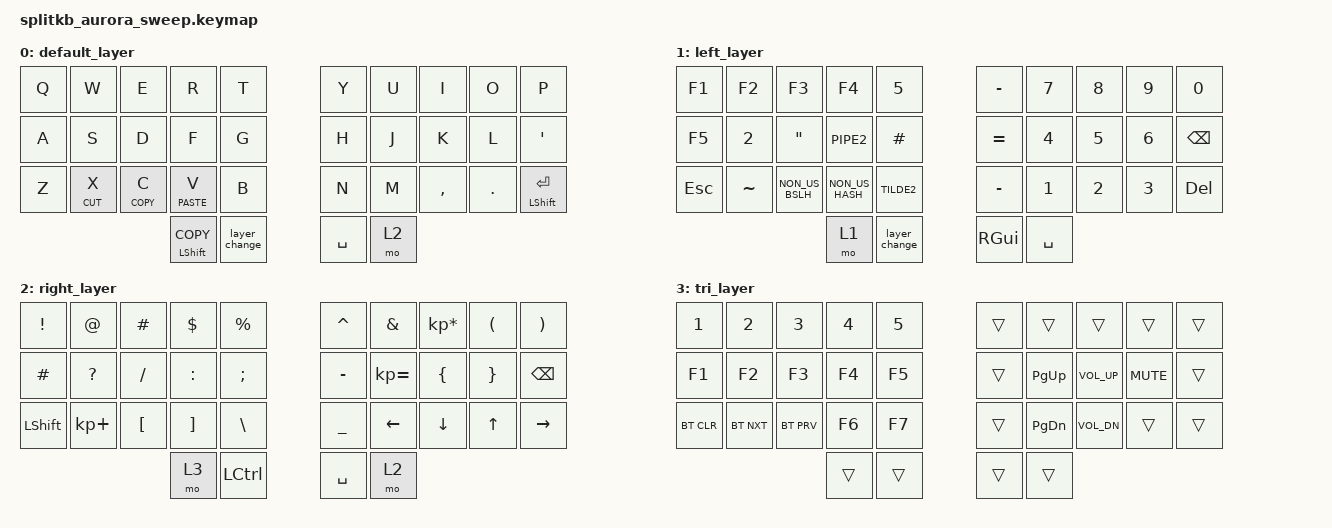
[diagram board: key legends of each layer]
/*
 * Copyright (c) 2022 The ZMK Contributors
 *
 * SPDX-License-Identifier: MIT
 */

#include <behaviors.dtsi>
#include <dt-bindings/zmk/bt.h>
#include <dt-bindings/zmk/keys.h>

&mt {
    //  flavor = "tap-preferred";
    // tapping-term-ms = <200>;
};

/ {
    combos {
        compatible = "zmk,combos";

        combo_esc {
            timeout-ms = <50>;
            key-positions = <0 1>;
            bindings = <&kp ESC>;
        };

        combo_tab {
            timeout-ms = <50>;
            key-positions = <10 11>;
            bindings = <&kp TAB>;
        };

        combo_ralt {
            timeout-ms = <50>;
            key-positions = <17 16>;
            bindings = <&kp RALT>;
        };

        combo_lalt {
            timeout-ms = <50>;
            key-positions = <11 12>;
            bindings = <&kp LALT>;
        };

        combo_lgui {
            timeout-ms = <50>;
            key-positions = <12 13>;
            bindings = <&kp LGUI>;
        };

        combo_rgui {
            timeout-ms = <50>;
            key-positions = <17 18>;
            bindings = <&kp RGUI>;
        };

        work_email {
            bindings = <&work_email>;
            key-positions = <1 2>;
        };
    };

    macros {
        work_email: work_email {
            compatible = "zmk,behavior-macro";
            #binding-cells = <0>;
            bindings = <&kp D &kp A &kp M &kp I &kp E &kp N &kp DOT &kp C &kp A &kp R &kp U &kp S &kp O &kp AT &kp T &kp E &kp A &kp M &kp DOT &kp A &kp U &kp S &kp S &kp I &kp E &kp B &kp R &kp O &kp A &kp D &kp B &kp A &kp N &kp D &kp DOT &kp C &kp O &kp M &kp DOT &kp A &kp U>;
            label = "WORK_EMAIL";
        };
    };

    behaviors {
        layer_change: layer_change {
            compatible = "zmk,behavior-tap-dance";
            label = "LAYER_CHANGE";
            #binding-cells = <0>;
            bindings = <&to 0>, <&to 1>;
        };
    };

    keymap {
        compatible = "zmk,keymap";

        default_layer {
            bindings = <
&kp Q             &kp W          &kp E         &kp R          &kp T    &kp Y  &kp U  &kp I      &kp O      &kp P
&kp A             &kp S          &kp D         &kp F          &kp G    &kp H  &kp J  &kp K      &kp L      &kp SQT
&kp Z             &mt K_CUT X    &mt K_COPY C  &mt K_PASTE V  &kp B    &kp N  &kp M  &kp COMMA  &kp DOT    &mt LSHFT RET
&mt LSHFT K_COPY  &layer_change                                                                 &kp SPACE  &mo 2
            >;
        };

        left_layer {
            bindings = <
&kp F1   &kp F2         &kp F3           &kp F4           &kp N5        &kp MINUS  &kp N7  &kp N8  &kp N9    &kp N0
&kp F5   &kp N2         &kp DQT          &kp PIPE2        &kp HASH      &kp EQUAL  &kp N4  &kp N5  &kp N6    &kp BACKSPACE
&kp ESC  &kp TILDE      &kp NON_US_BSLH  &kp NON_US_HASH  &kp TILDE2    &kp MINUS  &kp N1  &kp N2  &kp N3    &kp DEL
&mo 1    &layer_change                                                                             &kp RGUI  &kp SPACE
            >;
        };

        right_layer {
            bindings = <
&kp EXCL   &kp AT       &kp HASH  &kp DLLR   &kp PRCNT    &kp CARET  &kp AMPS      &kp KP_MULTIPLY  &kp LPAR   &kp RPAR
&kp HASH   &kp QMARK    &kp FSLH  &kp COLON  &kp SEMI     &kp MINUS  &kp KP_EQUAL  &kp LBRC         &kp RBRC   &kp BSPC
&kp LSHFT  &kp KP_PLUS  &kp LBKT  &kp RBKT   &kp BSLH     &kp UNDER  &kp LEFT      &kp DOWN         &kp UP     &kp RIGHT
&mo 3      &kp LCTRL                                                                                &kp SPACE  &mo 2
            >;
        };

        tri_layer {
            bindings = <
&kp N1      &kp N2      &kp N3      &kp N4  &kp N5    &trans  &trans     &trans        &trans      &trans
&kp F1      &kp F2      &kp F3      &kp F4  &kp F5    &trans  &kp PG_UP  &kp K_VOL_UP  &kp K_MUTE  &trans
&bt BT_CLR  &bt BT_NXT  &bt BT_PRV  &kp F6  &kp F7    &trans  &kp PG_DN  &kp K_VOL_DN  &trans      &trans
&trans      &trans                                                                     &trans      &trans
            >;
        };
    };
};
